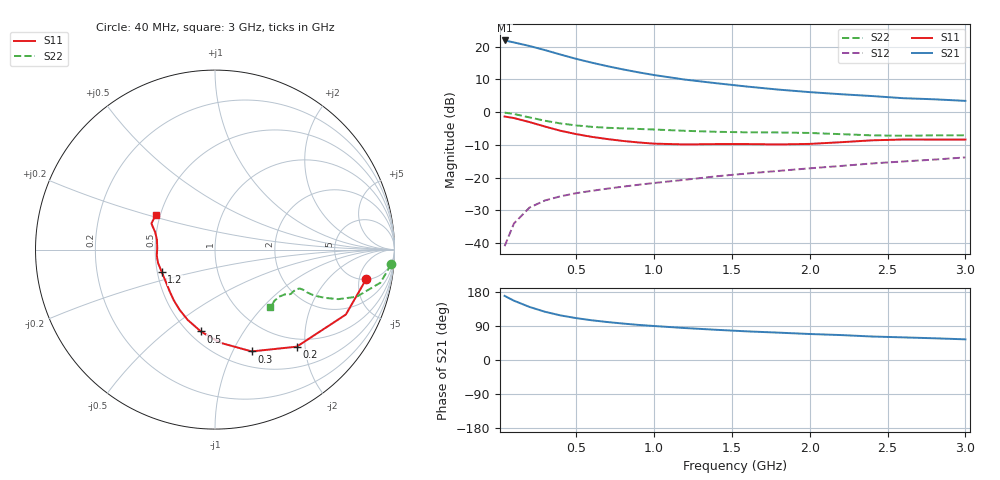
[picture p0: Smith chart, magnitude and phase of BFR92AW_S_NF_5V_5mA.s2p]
! Filename:  BFR92AWB.S2P  Version:  4.0
! Philips part #: BFR92AW  Date: Jun 1994
! Bias condition: Vce=5V, Ic=5mA
#  MHz  S  MA  R  50
! Freq  S11  S21  S12  S22  !GUM [dB]
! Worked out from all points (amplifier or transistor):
!   21 points, 40 MHz to 3 GHz, reference 50 ohm
!   highest |S21| = 21.9 dB at 40 MHz (marker M1)
!   |S21| within 3 dB of that: start of sweep to 303.7 MHz
!   unconditionally stable (mu >= 1): 927 MHz to end of sweep
!   at 300 MHz: K = 0.50, MSG = 22.9 dB, |S12| = -26.9 dB
!   at 1 GHz: K = 1.04, MAG = 15.3 dB, |S12| = -21.6 dB
!   at 3 GHz: K = 1.13, MAG = 6.5 dB, |S12| = -13.8 dB
!   lowest NFmin = 1.60 dB at 500 MHz
!   S11 on the Smith chart (normalised r, x): 40 MHz: 5.15, -6.39; 200 MHz: 0.85, -1.84; 300 MHz: 0.67, -1.19; 500 MHz: 0.57, -0.67; 1.2 GHz: 0.53, -0.15; 3 GHz: 0.47, +0.22
40  0.859 -10.9  12.46 169.2  0.009 83.6  0.985 -4.8
100  0.814 -26.4  11.63 156.5  0.02 74.8  0.94 -11.3
200  0.707 -49.9  10.25 140.0  0.035 64.4  0.832 -18.4
300  0.603 -70.2  8.874 127.2  0.045 58.9  0.74 -21.9
400  0.52 -86.7  7.583 117.6  0.052 56.9  0.673 -23.6
500  0.463 -99.8  6.525 110.5  0.058 56.2  0.628 -24.5
600  0.42 -111.3  5.709 104.8  0.063 57.1  0.598 -24.9
700  0.389 -120.5  5.044 100.2  0.068 58.1  0.578 -24.9
800  0.364 -129.1  4.507 96.2  0.073 59.6  0.566 -24.9
900  0.345 -136.6  4.061 92.6  0.078 60.7  0.555 -24.6
1000  0.331 -143.9  3.695 89.7  0.083 62.0  0.544 -24.5
1200  0.322 -157.0  3.144 84.3  0.093 64.3  0.52 -24.6
1400  0.326 -166.9  2.771 79.7  0.105 66.4  0.502 -26.2
1600  0.326 -174.2  2.46 75.5  0.116 67.9  0.493 -28.7
1800  0.322 178.7  2.213 72.2  0.127 69.9  0.49 -30.2
2000  0.328 170.3  2.026 68.6  0.139 71.4  0.482 -31.2
2200  0.348 163.6  1.882 65.8  0.151 72.3  0.462 -32.7
2400  0.372 159.4  1.765 62.0  0.165 73.1  0.443 -36.3
2600  0.383 157.6  1.637 59.7  0.177 73.7  0.437 -41.0
2800  0.382 154.5  1.574 57.3  0.189 74.8  0.443 -44.3
3000  0.382 149.4  1.49 54.5  0.204 75.3  0.445 -46.3
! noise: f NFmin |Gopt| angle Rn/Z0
500  1.6  0.415  16.9  0.303
1000  2.1  0.286  52.1  0.36
2000  3  0.184  171.9  0.24
